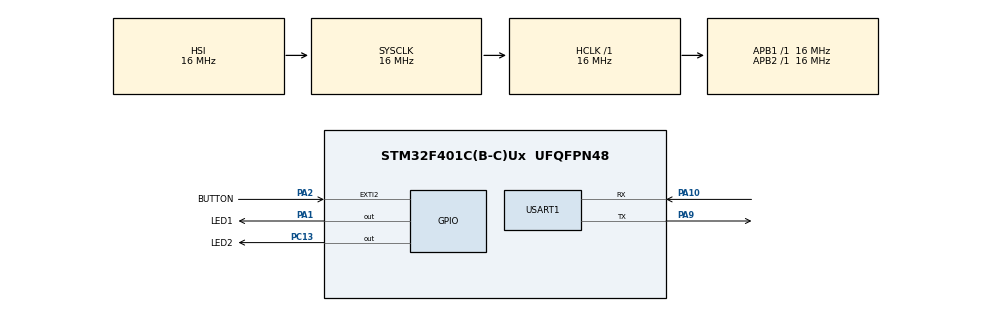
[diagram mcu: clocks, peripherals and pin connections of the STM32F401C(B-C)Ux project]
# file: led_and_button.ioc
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Mcu.Family=STM32F4
Mcu.Name=STM32F401C(B-C)Ux
Mcu.Package=UFQFPN48
NVIC.EXTI2_IRQn=true\:0\:0\:false\:false\:true\:true\:true\:true
NVIC.PriorityGroup=NVIC_PRIORITYGROUP_4
NVIC.USART1_IRQn=true\:0\:0\:false\:false\:true\:true\:true\:true
PA1.GPIO_Label=LED1
PA1.Signal=GPIO_Output
PA10.Mode=Asynchronous
PA10.Signal=USART1_RX
PA2.GPIO_Label=BUTTON
PA2.GPIO_PuPd=GPIO_PULLDOWN
PA2.Signal=GPXTI2
PA9.Mode=Asynchronous
PA9.Signal=USART1_TX
PC13-ANTI_TAMP.GPIO_Label=LED2
PC13-ANTI_TAMP.Signal=GPIO_Output
ProjectManager.HeapSize=0x200
ProjectManager.StackSize=0x400
ProjectManager.TargetToolchain=STM32CubeIDE
RCC.AHBFreq_Value=16000000
RCC.APB1Freq_Value=16000000
RCC.APB2Freq_Value=16000000
RCC.CortexFreq_Value=16000000
RCC.HSE_VALUE=25000000
RCC.HSI_VALUE=16000000
RCC.LSE_VALUE=32768
RCC.SYSCLKFreq_VALUE=16000000
RCC.VCOOutputFreq_Value=192000000
USART1.VirtualMode=VM_ASYNC
board=custom

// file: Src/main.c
/* USER CODE BEGIN Header */
/**
  ******************************************************************************
  * @file           : main.c
  * @brief          : Main program body
  ******************************************************************************
  * @attention
  *
  * Copyright (c) 2026 STMicroelectronics.
  * All rights reserved.
  *
  * This software is licensed under terms that can be found in the LICENSE file
  * in the root directory of this software component.
  * If no LICENSE file comes with this software, it is provided AS-IS.
  *
  ******************************************************************************
  */
/* USER CODE END Header */
#include "main.h"

/* USER CODE BEGIN Includes */
#include <stdio.h>
/* USER CODE END Includes */

UART_HandleTypeDef huart1;

void SystemClock_Config(void);
static void MX_GPIO_Init(void);
static void MX_USART1_UART_Init(void);

/* USER CODE BEGIN 0 */
int __io_putchar(int ch) {
	HAL_UART_Transmit(&huart1, (uint8_t *)&ch, 1, 0xFFFF);
	return ch;
}
/* USER CODE END 0 */

int main(void)
{

  /* MCU Configuration--------------------------------------------------------*/

  /* Reset of all peripherals, Initializes the Flash interface and the Systick. */
  HAL_Init();

  /* Configure the system clock */
  SystemClock_Config();

  /* Initialize all configured peripherals */
  MX_GPIO_Init();
  MX_USART1_UART_Init();
  /* USER CODE BEGIN 2 */

  printf("Start application\r\n");

  /* USER CODE END 2 */

  /* Infinite loop */
  /* USER CODE BEGIN WHILE */

  uint32_t now = 0, led_time = 0;
  while (1) {
	  now = HAL_GetTick(); // miliseconds
	  if (now - led_time >= 1000) {
		  HAL_GPIO_TogglePin(LED2_GPIO_Port, LED2_Pin);
		  led_time = now;
	  }
    /* USER CODE END WHILE */

  }
}

void SystemClock_Config(void)
{
  RCC_OscInitTypeDef RCC_OscInitStruct = {0};
  RCC_ClkInitTypeDef RCC_ClkInitStruct = {0};

  /** Configure the main internal regulator output voltage
  */
  __HAL_RCC_PWR_CLK_ENABLE();
  __HAL_PWR_VOLTAGESCALING_CONFIG(PWR_REGULATOR_VOLTAGE_SCALE2);

  /** Initializes the RCC Oscillators according to the specified parameters
  * in the RCC_OscInitTypeDef structure.
  */
  RCC_OscInitStruct.OscillatorType = RCC_OSCILLATORTYPE_HSI;
  RCC_OscInitStruct.HSIState = RCC_HSI_ON;
  RCC_OscInitStruct.HSICalibrationValue = RCC_HSICALIBRATION_DEFAULT;
  RCC_OscInitStruct.PLL.PLLState = RCC_PLL_NONE;
  if (HAL_RCC_OscConfig(&RCC_OscInitStruct) != HAL_OK)
  {
    Error_Handler();
  }

  /** Initializes the CPU, AHB and APB buses clocks
  */
  RCC_ClkInitStruct.ClockType = RCC_CLOCKTYPE_HCLK|RCC_CLOCKTYPE_SYSCLK
                              |RCC_CLOCKTYPE_PCLK1|RCC_CLOCKTYPE_PCLK2;
  RCC_ClkInitStruct.SYSCLKSource = RCC_SYSCLKSOURCE_HSI;
  RCC_ClkInitStruct.AHBCLKDivider = RCC_SYSCLK_DIV1;
  RCC_ClkInitStruct.APB1CLKDivider = RCC_HCLK_DIV1;
  RCC_ClkInitStruct.APB2CLKDivider = RCC_HCLK_DIV1;

  if (HAL_RCC_ClockConfig(&RCC_ClkInitStruct, FLASH_LATENCY_0) != HAL_OK)
  {
    Error_Handler();
  }
}

static void MX_USART1_UART_Init(void)
{

  huart1.Instance = USART1;
  huart1.Init.BaudRate = 115200;
  huart1.Init.WordLength = UART_WORDLENGTH_8B;
  huart1.Init.StopBits = UART_STOPBITS_1;
  huart1.Init.Parity = UART_PARITY_NONE;
  huart1.Init.Mode = UART_MODE_TX_RX;
  huart1.Init.HwFlowCtl = UART_HWCONTROL_NONE;
  huart1.Init.OverSampling = UART_OVERSAMPLING_16;
  if (HAL_UART_Init(&huart1) != HAL_OK)
  {
    Error_Handler();
  }

}

static void MX_GPIO_Init(void)
{
  GPIO_InitTypeDef GPIO_InitStruct = {0};

  /* GPIO Ports Clock Enable */
  __HAL_RCC_GPIOC_CLK_ENABLE();
  __HAL_RCC_GPIOA_CLK_ENABLE();

  /*Configure GPIO pin Output Level */
  HAL_GPIO_WritePin(LED2_GPIO_Port, LED2_Pin, GPIO_PIN_RESET);

  /*Configure GPIO pin Output Level */
  HAL_GPIO_WritePin(LED1_GPIO_Port, LED1_Pin, GPIO_PIN_RESET);

  /*Configure GPIO pin : LED2_Pin */
  GPIO_InitStruct.Pin = LED2_Pin;
  GPIO_InitStruct.Mode = GPIO_MODE_OUTPUT_PP;
  GPIO_InitStruct.Pull = GPIO_NOPULL;
  GPIO_InitStruct.Speed = GPIO_SPEED_FREQ_LOW;
  HAL_GPIO_Init(LED2_GPIO_Port, &GPIO_InitStruct);

  /*Configure GPIO pin : LED1_Pin */
  GPIO_InitStruct.Pin = LED1_Pin;
  GPIO_InitStruct.Mode = GPIO_MODE_OUTPUT_PP;
  GPIO_InitStruct.Pull = GPIO_NOPULL;
  GPIO_InitStruct.Speed = GPIO_SPEED_FREQ_LOW;
  HAL_GPIO_Init(LED1_GPIO_Port, &GPIO_InitStruct);

  /*Configure GPIO pin : BUTTON_Pin */
  GPIO_InitStruct.Pin = BUTTON_Pin;
  GPIO_InitStruct.Mode = GPIO_MODE_IT_RISING;
  GPIO_InitStruct.Pull = GPIO_PULLDOWN;
  HAL_GPIO_Init(BUTTON_GPIO_Port, &GPIO_InitStruct);

  /* EXTI interrupt init*/
  HAL_NVIC_SetPriority(EXTI2_IRQn, 0, 0);
  HAL_NVIC_EnableIRQ(EXTI2_IRQn);

}

/* USER CODE BEGIN 4 */
void HAL_GPIO_EXTI_Callback(uint16_t GPIO_Pin) {
	if (GPIO_Pin != BUTTON_Pin) return;

    static uint32_t last_exti_time = 0;
    uint32_t current_time = HAL_GetTick();
    if ((current_time - last_exti_time) > 150) {
    	printf("Button pressed, toggle led pin\r\n");
    	HAL_GPIO_TogglePin(LED1_GPIO_Port, LED1_Pin);
        last_exti_time = current_time;
    }
}
/* USER CODE END 4 */

void Error_Handler(void)
{
  __disable_irq();
  while (1)
  {
  }
}
